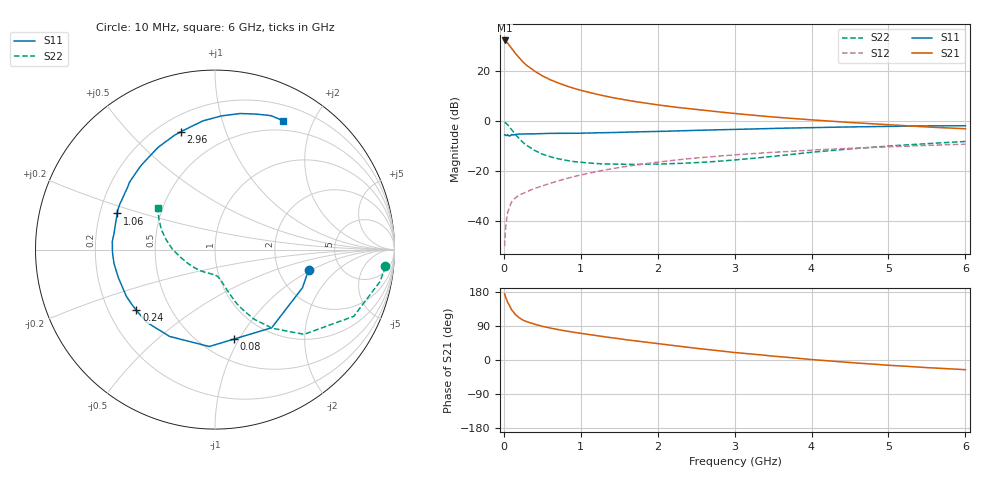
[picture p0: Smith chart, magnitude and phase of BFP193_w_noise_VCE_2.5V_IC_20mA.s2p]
! Infineon Technologies  Discrete & RF Semiconductors
! BFP193
! VCE = 2.5 V,  IC =  20 mA
! Common Emitter S-Parameters:  Jan 2016
# GHz  S  MA  R  50
!  f  S11  S21  S12  S22
! GHz  MAG  ANG  MAG  ANG  MAG  ANG  MAG  ANG
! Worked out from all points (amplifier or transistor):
!   210 points, 10 MHz to 6 GHz, reference 50 ohm
!   highest |S21| = 32.5 dB at 10 MHz (marker M1)
!   |S21| within 3 dB of that: start of sweep to 96.9 MHz
!   unconditionally stable (mu >= 1): 760.1 MHz to 3.72 GHz
!   at 185 MHz: K = 0.49, MSG = 28.0 dB, |S12| = -30.0 dB
!   at 1.52 GHz: K = 1.08, MAG = 12.0 dB, |S12| = -18.5 dB
!   at 6 GHz: K = 0.93, MSG = 3.1 dB, |S12| = -9.2 dB
!   lowest NFmin = 1.40 dB at 450 MHz
!   S11 on the Smith chart (normalised r, x): 10 MHz: 2.95, -0.95; 80 MHz: 0.71, -0.95; 240 MHz: 0.32, -0.31; 1.06 GHz: 0.27, +0.17; 2.96 GHz: 0.29, +0.71; 6 GHz: 0.38, +1.59
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0.01  0.5339 -12.4  41.98 174.4  0.0031 86.2  0.9541 -5.6
0.02  0.5316 -23.6  40.62 167.3  0.0061 80.5  0.9369 -10.9
0.05  0.5378 -54.0  37.02 151.9  0.0148 69.8  0.8577 -25.7
0.08  0.5095 -77.9  31.96 141.4  0.02 61.2  0.7447 -35.5
0.1  0.541 -93.4  29.36 132.5  0.0237 57.7  0.6845 -43.6
0.15  0.5459 -117.6  22.99 119.6  0.0289 50.9  0.5429 -53.9
0.2  0.556 -133.4  18.66 111.2  0.0329 49.8  0.4454 -60.6
0.24  0.5535 -142.3  16.05 106.4  0.0351 49.1  0.3868 -64.0
0.3  0.5584 -152.2  13.15 100.7  0.0386 49.8  0.326 -68.0
0.4  0.5607 -163.9  10.15 94.2  0.0447 51.2  0.2593 -71.8
0.5  0.5682 -172.2  8.168 88.8  0.0502 53.7  0.2188 -74.5
0.6  0.5715 -178.7  6.863 84.3  0.0565 54.7  0.194 -76.7
0.7  0.574 175.4  5.926 80.2  0.0631 55.8  0.177 -78.8
1.02  0.5781 161.2  4.109 69.7  0.0848 56.7  0.1488 -85.1
1.06  0.5811 159.7  3.964 68.5  0.0875 56.8  0.1471 -86.2
1.4  0.5932 147.7  3.009 58.8  0.1106 55.4  0.1386 -94.7
2.02  0.6265 129.5  2.114 42.6  0.1525 50.0  0.1382 -115.4
2.96  0.6834 106.1  1.452 20.7  0.2096 39.5  0.1654 -150.3
3.1  0.6909 103.2  1.386 18.0  0.217 37.8  0.1723 -155.2
4.1  0.7498 85.6  1.041 -0.3  0.2681 26.7  0.2458 176.7
5.1  0.7916 72.2  0.835 -15.0  0.3109 15.7  0.3255 157.9
6  0.8123 62.3  0.708 -25.6  0.3472 6.2  0.3927 144.1
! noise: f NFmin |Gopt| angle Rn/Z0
0.45  1.4  0.3  160  0.1
0.9  1.45  0.34  172  0.11
1.8  2.2  0.56  -148  0.2
